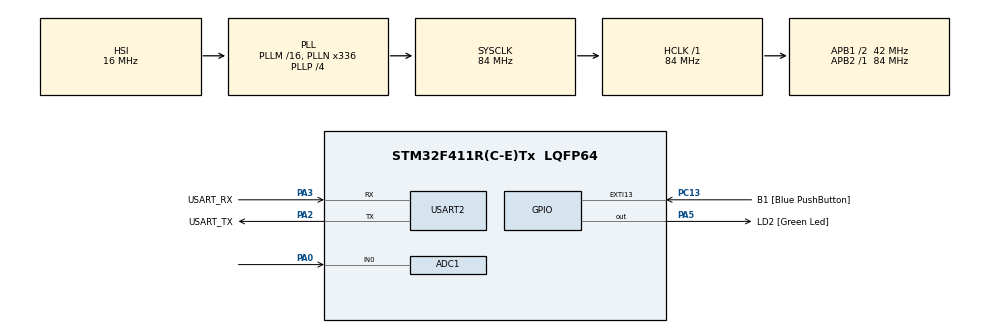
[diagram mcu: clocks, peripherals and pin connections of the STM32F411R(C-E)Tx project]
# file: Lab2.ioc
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ADC1.Channel-0\#ChannelRegularConversion=ADC_CHANNEL_0
ADC1.Channel-1\#ChannelRegularConversion=ADC_CHANNEL_TEMPSENSOR
ADC1.ContinuousConvMode=ENABLE
ADC1.DMAContinuousRequests=ENABLE
ADC1.EOCSelection=ADC_EOC_SEQ_CONV
ADC1.NbrOfConversion=2
ADC1.NbrOfConversionFlag=1
ADC1.Rank-0\#ChannelRegularConversion=1
ADC1.Rank-1\#ChannelRegularConversion=2
ADC1.SamplingTime-0\#ChannelRegularConversion=ADC_SAMPLETIME_480CYCLES
ADC1.SamplingTime-1\#ChannelRegularConversion=ADC_SAMPLETIME_480CYCLES
ADC1.master=1
Dma.ADC1.0.Direction=DMA_PERIPH_TO_MEMORY
Dma.ADC1.0.FIFOMode=DMA_FIFOMODE_DISABLE
Dma.ADC1.0.Instance=DMA2_Stream0
Dma.ADC1.0.MemDataAlignment=DMA_MDATAALIGN_HALFWORD
Dma.ADC1.0.MemInc=DMA_MINC_ENABLE
Dma.ADC1.0.Mode=DMA_CIRCULAR
Dma.ADC1.0.PeriphDataAlignment=DMA_PDATAALIGN_HALFWORD
Dma.ADC1.0.PeriphInc=DMA_PINC_DISABLE
Dma.ADC1.0.Priority=DMA_PRIORITY_LOW
Dma.Request0=ADC1
Mcu.Family=STM32F4
Mcu.Name=STM32F411R(C-E)Tx
Mcu.Package=LQFP64
NVIC.ADC_IRQn=true\:0\:0\:false\:false\:true\:true\:true\:true
NVIC.DMA2_Stream0_IRQn=true\:0\:0\:false\:false\:true\:false\:true\:true
NVIC.PriorityGroup=NVIC_PRIORITYGROUP_0
PA0-WKUP.Signal=ADCx_IN0
PA13.GPIO_Label=TMS
PA13.Mode=Serial_Wire
PA13.Signal=SYS_JTMS-SWDIO
PA14.GPIO_Label=TCK
PA14.Mode=Serial_Wire
PA14.Signal=SYS_JTCK-SWCLK
PA2.GPIO_Label=USART_TX
PA2.Mode=Asynchronous
PA2.Signal=USART2_TX
PA3.GPIO_Label=USART_RX
PA3.Mode=Asynchronous
PA3.Signal=USART2_RX
PA5.GPIO_Label=LD2 [Green Led]
PA5.Signal=GPIO_Output
PB3.GPIO_Label=SWO
PB3.Signal=SYS_JTDO-SWO
PC13-ANTI_TAMP.GPIO_Label=B1 [Blue PushButton]
PC13-ANTI_TAMP.GPIO_ModeDefaultEXTI=GPIO_MODE_IT_FALLING
PC13-ANTI_TAMP.Signal=GPXTI13
PC14-OSC32_IN.Mode=LSE-External-Oscillator
PC14-OSC32_IN.Signal=RCC_OSC32_IN
PC15-OSC32_OUT.Mode=LSE-External-Oscillator
PC15-OSC32_OUT.Signal=RCC_OSC32_OUT
PH0\ -\ OSC_IN.Mode=HSE-External-Clock-Source
PH0\ -\ OSC_IN.Signal=RCC_OSC_IN
PH1\ -\ OSC_OUT.Mode=HSE-External-Clock-Source
PH1\ -\ OSC_OUT.Signal=RCC_OSC_OUT
ProjectManager.HeapSize=0x200
ProjectManager.StackSize=0x400
ProjectManager.TargetToolchain=STM32CubeIDE
RCC.48MHZClocksFreq_Value=84000000
RCC.AHBFreq_Value=84000000
RCC.APB1CLKDivider=RCC_HCLK_DIV2
RCC.APB1Freq_Value=42000000
RCC.APB1TimFreq_Value=84000000
RCC.APB2Freq_Value=84000000
RCC.APB2TimFreq_Value=84000000
RCC.CortexFreq_Value=84000000
RCC.FLatency-AdvancedSettings=FLASH_LATENCY_2
RCC.HCLKFreq_Value=84000000
RCC.HSE_VALUE=8000000
RCC.HSI_VALUE=16000000
RCC.PLLN=336
RCC.PLLP=RCC_PLLP_DIV4
RCC.SYSCLKFreq_VALUE=84000000
RCC.SYSCLKSource=RCC_SYSCLKSOURCE_PLLCLK
RCC.VCOOutputFreq_Value=336000000
SH.ADCx_IN0.0=ADC1_IN0,IN0
USART2.VirtualMode=VM_ASYNC
VP_ADC1_TempSens_Input.Mode=IN-TempSens
board=NUCLEO-F411RE

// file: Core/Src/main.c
/* USER CODE BEGIN Header */
/**
  ******************************************************************************
  * @file           : main.c
  * @brief          : Main program body
  ******************************************************************************
  * @attention
  *
  * Copyright (c) 2023 STMicroelectronics.
  * All rights reserved.
  *
  * This software is licensed under terms that can be found in the LICENSE file
  * in the root directory of this software component.
  * If no LICENSE file comes with this software, it is provided AS-IS.
  *
  ******************************************************************************
  */
/* USER CODE END Header */
#include "main.h"

ADC_HandleTypeDef hadc1;
DMA_HandleTypeDef hdma_adc1;

UART_HandleTypeDef huart2;

/* USER CODE BEGIN PV */
uint16_t buffer[20];
uint32_t SumVoltADC = 0;
uint32_t SumTempADC = 0;
float VoltmV = 0;
float TempK= 0;
/* USER CODE END PV */

void SystemClock_Config(void);
static void MX_GPIO_Init(void);
static void MX_DMA_Init(void);
static void MX_USART2_UART_Init(void);
static void MX_ADC1_Init(void);

int main(void)
{

  /* MCU Configuration--------------------------------------------------------*/

  /* Reset of all peripherals, Initializes the Flash interface and the Systick. */
  HAL_Init();

  /* Configure the system clock */
  SystemClock_Config();

  /* Initialize all configured peripherals */
  MX_GPIO_Init();
  MX_DMA_Init();
  MX_USART2_UART_Init();
  MX_ADC1_Init();
  /* USER CODE BEGIN 2 */
  HAL_ADC_Start_DMA(&hadc1, buffer, 20);
  /* USER CODE END 2 */

  /* Infinite loop */
  while (1)
  {

    /* USER CODE BEGIN 3 */
	  static uint32_t timestamp=0;
	  if(HAL_GetTick()>= timestamp){
		  timestamp =HAL_GetTick() +1000;
		  register int i;
		  for (i = 0; i < 10; i++){
			  SumVoltADC += buffer[i*2];
			  SumTempADC += buffer[(i*2)+1];
		  }
		  VoltmV = ((SumVoltADC/10.0)*(3300.0/4096.0))*2.0;
		  TempK = ((((SumTempADC/10.0)*(3300.0/4096.0))-760)/2.5)+25.0+273.15;
		  SumVoltADC = 0;
		  SumTempADC = 0;
	  }
  }
  /* USER CODE END 3 */
}

void SystemClock_Config(void)
{
  RCC_OscInitTypeDef RCC_OscInitStruct = {0};
  RCC_ClkInitTypeDef RCC_ClkInitStruct = {0};

  /** Configure the main internal regulator output voltage
  */
  __HAL_RCC_PWR_CLK_ENABLE();
  __HAL_PWR_VOLTAGESCALING_CONFIG(PWR_REGULATOR_VOLTAGE_SCALE1);

  /** Initializes the RCC Oscillators according to the specified parameters
  * in the RCC_OscInitTypeDef structure.
  */
  RCC_OscInitStruct.OscillatorType = RCC_OSCILLATORTYPE_HSI;
  RCC_OscInitStruct.HSIState = RCC_HSI_ON;
  RCC_OscInitStruct.HSICalibrationValue = RCC_HSICALIBRATION_DEFAULT;
  RCC_OscInitStruct.PLL.PLLState = RCC_PLL_ON;
  RCC_OscInitStruct.PLL.PLLSource = RCC_PLLSOURCE_HSI;
  RCC_OscInitStruct.PLL.PLLM = 16;
  RCC_OscInitStruct.PLL.PLLN = 336;
  RCC_OscInitStruct.PLL.PLLP = RCC_PLLP_DIV4;
  RCC_OscInitStruct.PLL.PLLQ = 4;
  if (HAL_RCC_OscConfig(&RCC_OscInitStruct) != HAL_OK)
  {
    Error_Handler();
  }

  /** Initializes the CPU, AHB and APB buses clocks
  */
  RCC_ClkInitStruct.ClockType = RCC_CLOCKTYPE_HCLK|RCC_CLOCKTYPE_SYSCLK
                              |RCC_CLOCKTYPE_PCLK1|RCC_CLOCKTYPE_PCLK2;
  RCC_ClkInitStruct.SYSCLKSource = RCC_SYSCLKSOURCE_PLLCLK;
  RCC_ClkInitStruct.AHBCLKDivider = RCC_SYSCLK_DIV1;
  RCC_ClkInitStruct.APB1CLKDivider = RCC_HCLK_DIV2;
  RCC_ClkInitStruct.APB2CLKDivider = RCC_HCLK_DIV1;

  if (HAL_RCC_ClockConfig(&RCC_ClkInitStruct, FLASH_LATENCY_2) != HAL_OK)
  {
    Error_Handler();
  }
}

static void MX_ADC1_Init(void)
{

  ADC_ChannelConfTypeDef sConfig = {0};

  /** Configure the global features of the ADC (Clock, Resolution, Data Alignment and number of conversion)
  */
  hadc1.Instance = ADC1;
  hadc1.Init.ClockPrescaler = ADC_CLOCK_SYNC_PCLK_DIV4;
  hadc1.Init.Resolution = ADC_RESOLUTION_12B;
  hadc1.Init.ScanConvMode = ENABLE;
  hadc1.Init.ContinuousConvMode = ENABLE;
  hadc1.Init.DiscontinuousConvMode = DISABLE;
  hadc1.Init.ExternalTrigConvEdge = ADC_EXTERNALTRIGCONVEDGE_NONE;
  hadc1.Init.ExternalTrigConv = ADC_SOFTWARE_START;
  hadc1.Init.DataAlign = ADC_DATAALIGN_RIGHT;
  hadc1.Init.NbrOfConversion = 2;
  hadc1.Init.DMAContinuousRequests = ENABLE;
  hadc1.Init.EOCSelection = ADC_EOC_SEQ_CONV;
  if (HAL_ADC_Init(&hadc1) != HAL_OK)
  {
    Error_Handler();
  }

  /** Configure for the selected ADC regular channel its corresponding rank in the sequencer and its sample time.
  */
  sConfig.Channel = ADC_CHANNEL_0;
  sConfig.Rank = 1;
  sConfig.SamplingTime = ADC_SAMPLETIME_480CYCLES;
  if (HAL_ADC_ConfigChannel(&hadc1, &sConfig) != HAL_OK)
  {
    Error_Handler();
  }

  /** Configure for the selected ADC regular channel its corresponding rank in the sequencer and its sample time.
  */
  sConfig.Channel = ADC_CHANNEL_TEMPSENSOR;
  sConfig.Rank = 2;
  if (HAL_ADC_ConfigChannel(&hadc1, &sConfig) != HAL_OK)
  {
    Error_Handler();
  }

}

static void MX_USART2_UART_Init(void)
{

  huart2.Instance = USART2;
  huart2.Init.BaudRate = 115200;
  huart2.Init.WordLength = UART_WORDLENGTH_8B;
  huart2.Init.StopBits = UART_STOPBITS_1;
  huart2.Init.Parity = UART_PARITY_NONE;
  huart2.Init.Mode = UART_MODE_TX_RX;
  huart2.Init.HwFlowCtl = UART_HWCONTROL_NONE;
  huart2.Init.OverSampling = UART_OVERSAMPLING_16;
  if (HAL_UART_Init(&huart2) != HAL_OK)
  {
    Error_Handler();
  }

}

static void MX_DMA_Init(void)
{

  /* DMA controller clock enable */
  __HAL_RCC_DMA2_CLK_ENABLE();

  /* DMA interrupt init */
  /* DMA2_Stream0_IRQn interrupt configuration */
  HAL_NVIC_SetPriority(DMA2_Stream0_IRQn, 0, 0);
  HAL_NVIC_EnableIRQ(DMA2_Stream0_IRQn);

}

static void MX_GPIO_Init(void)
{
  GPIO_InitTypeDef GPIO_InitStruct = {0};

  /* GPIO Ports Clock Enable */
  __HAL_RCC_GPIOC_CLK_ENABLE();
  __HAL_RCC_GPIOH_CLK_ENABLE();
  __HAL_RCC_GPIOA_CLK_ENABLE();
  __HAL_RCC_GPIOB_CLK_ENABLE();

  /*Configure GPIO pin Output Level */
  HAL_GPIO_WritePin(LD2_GPIO_Port, LD2_Pin, GPIO_PIN_RESET);

  /*Configure GPIO pin : B1_Pin */
  GPIO_InitStruct.Pin = B1_Pin;
  GPIO_InitStruct.Mode = GPIO_MODE_IT_FALLING;
  GPIO_InitStruct.Pull = GPIO_NOPULL;
  HAL_GPIO_Init(B1_GPIO_Port, &GPIO_InitStruct);

  /*Configure GPIO pin : LD2_Pin */
  GPIO_InitStruct.Pin = LD2_Pin;
  GPIO_InitStruct.Mode = GPIO_MODE_OUTPUT_PP;
  GPIO_InitStruct.Pull = GPIO_NOPULL;
  GPIO_InitStruct.Speed = GPIO_SPEED_FREQ_LOW;
  HAL_GPIO_Init(LD2_GPIO_Port, &GPIO_InitStruct);

}

void Error_Handler(void)
{
  __disable_irq();
  while (1)
  {
  }
}
